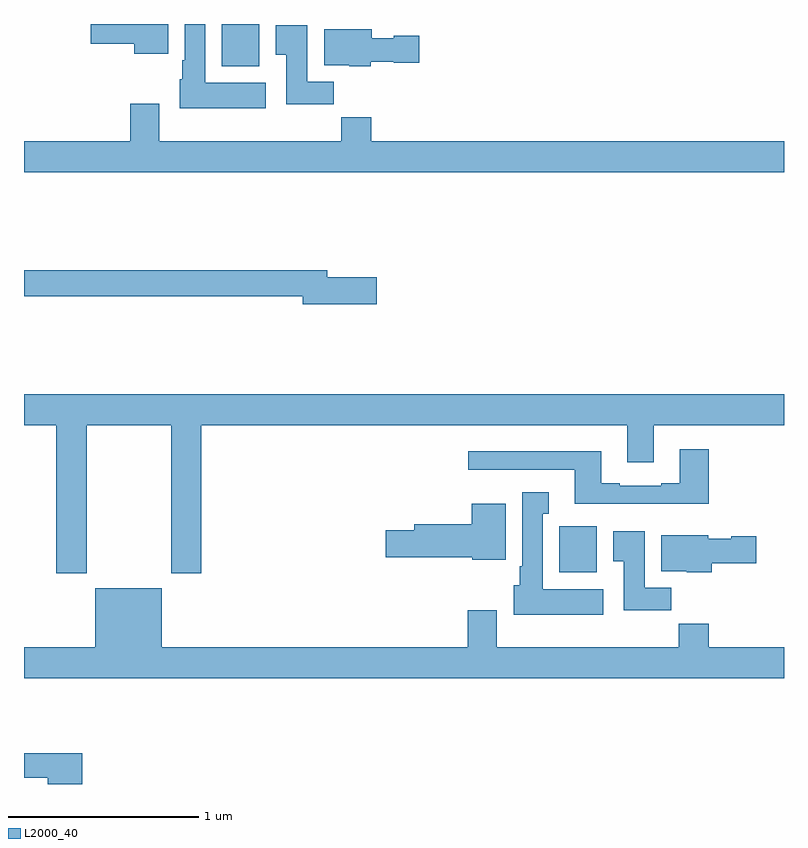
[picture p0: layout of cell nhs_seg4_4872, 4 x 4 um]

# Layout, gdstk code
import gdstk
lib = gdstk.Library(unit=1e-6, precision=1e-09)
def R(c, l, rs):  # rectangles x0, y0, x1, y1
    for r in rs: c.add(gdstk.rectangle(r[:2], r[2:], *l))
def P(c, l, *ps):  # polygons
    for p in ps: c.add(gdstk.Polygon(p, *l))
L2000_40 = (2000, 40)

nhs_seg4_4872 = lib.new_cell('nhs_seg4_4872')
R(nhs_seg4_4872, L2000_40, [(375.818,828.014,376.015,828.256), (374.042,830.678,374.239,830.9)])
P(nhs_seg4_4872, L2000_40, [(373.759,830.9),(373.35,830.9),(373.35,830.795),(373.58,830.795),(373.58,830.744),(373.759,830.744)],
  [(374.272,830.59),(373.954,830.59),(373.954,830.9),(373.847,830.9),(373.847,830.71),(373.832,830.71),(373.832,830.61),(373.82,830.61),(373.82,830.456),(374.272,830.456)],
  [(374.63,830.596),(374.491,830.596),(374.491,830.893),(374.324,830.893),(374.324,830.737),(374.381,830.737),(374.381,830.478),(374.63,830.478)],
  [(374.826,830.702),(374.946,830.702),(374.946,830.695),(375.079,830.695),(375.079,830.837),(374.946,830.837),(374.946,830.824),(374.83,830.824),(374.83,830.872),(374.579,830.872),(374.579,830.684),(374.712,830.684),(374.712,830.678),(374.826,830.678)],
  [(377,830.284),(374.828,830.284),(374.828,830.408),(374.671,830.408),(374.671,830.284),(373.711,830.284),(373.711,830.479),(373.559,830.479),(373.559,830.284),(373,830.284),(373,830.12),(377,830.12)],
  [(374.857,829.568),(374.596,829.568),(374.596,829.604),(373,829.604),(373,829.468),(374.468,829.468),(374.468,829.426),(374.857,829.426)],
  [(373.329,828.788),(373.774,828.788),(373.774,828.009),(373.934,828.009),(373.934,828.788),(376.175,828.788),(376.175,828.594),(376.315,828.594),(376.315,828.788),(377,828.788),(377,828.952),(373,828.952),(373,828.788),(373.169,828.788),(373.169,828.009),(373.329,828.009)],
  [(376.604,828.661),(376.451,828.661),(376.451,828.484),(376.355,828.484),(376.355,828.471),(376.135,828.471),(376.135,828.484),(376.039,828.484),(376.039,828.652),(375.339,828.652),(375.339,828.555),(375.899,828.555),(375.899,828.374),(376.604,828.374)],
  [(376.048,827.926),(375.73,827.926),(375.73,828.323),(375.763,828.323),(375.763,828.436),(375.623,828.436),(375.623,828.046),(375.608,828.046),(375.608,827.946),(375.578,827.946),(375.578,827.792),(376.048,827.792)],
  [(375.535,828.376),(375.356,828.376),(375.356,828.266),(375.053,828.266),(375.053,828.236),(374.904,828.236),(374.904,828.094),(375.36,828.094),(375.36,828.08),(375.535,828.08)],
  [(376.406,827.932),(376.267,827.932),(376.267,828.229),(376.1,828.229),(376.1,828.073),(376.157,828.073),(376.157,827.814),(376.406,827.814)],
  [(376.619,828.061),(376.855,828.061),(376.855,828.203),(376.722,828.203),(376.722,828.19),(376.602,828.19),(376.602,828.208),(376.355,828.208),(376.355,828.02),(376.488,828.02),(376.488,828.014),(376.619,828.014)],
  [(377,827.62),(376.604,827.62),(376.604,827.744),(376.447,827.744),(376.447,827.62),(375.487,827.62),(375.487,827.815),(375.335,827.815),(375.335,827.62),(373.726,827.62),(373.726,827.929),(373.376,827.929),(373.376,827.62),(373,827.62),(373,827.456),(377,827.456)],
  [(373.307,827.062),(373,827.062),(373,826.933),(373.124,826.933),(373.124,826.9),(373.307,826.9)])

lib.write_gds('nhs_seg4_4872.gds')
